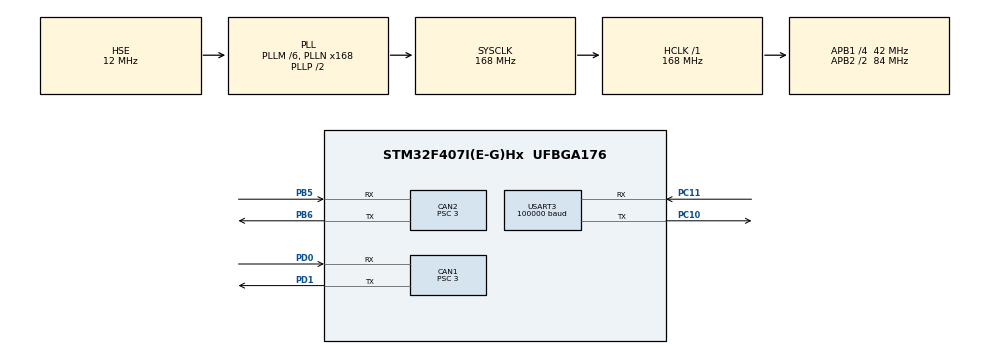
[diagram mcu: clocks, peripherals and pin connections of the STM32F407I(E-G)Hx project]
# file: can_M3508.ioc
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CAN1.BS1=CAN_BS1_10TQ
CAN1.BS2=CAN_BS2_3TQ
CAN1.CalculateBaudRate=1000000
CAN1.CalculateTimeBit=1000
CAN1.CalculateTimeQuantum=71.42857142857143
CAN1.Prescaler=3
CAN2.BS1=CAN_BS1_10TQ
CAN2.BS2=CAN_BS2_3TQ
CAN2.CalculateBaudRate=1000000
CAN2.CalculateTimeBit=1000
CAN2.CalculateTimeQuantum=71.42857142857143
CAN2.Prescaler=3
Dma.Request0=USART3_RX
Dma.USART3_RX.0.Direction=DMA_PERIPH_TO_MEMORY
Dma.USART3_RX.0.FIFOMode=DMA_FIFOMODE_DISABLE
Dma.USART3_RX.0.Instance=DMA1_Stream1
Dma.USART3_RX.0.MemDataAlignment=DMA_MDATAALIGN_BYTE
Dma.USART3_RX.0.MemInc=DMA_MINC_ENABLE
Dma.USART3_RX.0.Mode=DMA_CIRCULAR
Dma.USART3_RX.0.PeriphDataAlignment=DMA_PDATAALIGN_BYTE
Dma.USART3_RX.0.PeriphInc=DMA_PINC_DISABLE
Dma.USART3_RX.0.Priority=DMA_PRIORITY_VERY_HIGH
Mcu.Family=STM32F4
Mcu.Name=STM32F407I(E-G)Hx
Mcu.Package=UFBGA176
NVIC.CAN1_RX0_IRQn=true\:0\:0\:false\:false\:true\:true\:true\:true
NVIC.CAN2_RX0_IRQn=true\:0\:0\:false\:false\:true\:true\:true\:true
NVIC.DMA1_Stream1_IRQn=true\:0\:0\:false\:false\:true\:false\:true\:true
NVIC.PriorityGroup=NVIC_PRIORITYGROUP_4
PA13.Mode=Serial_Wire
PA13.Signal=SYS_JTMS-SWDIO
PA14.Mode=Serial_Wire
PA14.Signal=SYS_JTCK-SWCLK
PB5.Mode=CAN_Activate
PB5.Signal=CAN2_RX
PB6.Mode=CAN_Activate
PB6.Signal=CAN2_TX
PC10.Mode=Asynchronous
PC10.Signal=USART3_TX
PC11.Mode=Asynchronous
PC11.Signal=USART3_RX
PD0.Mode=CAN_Activate
PD0.Signal=CAN1_RX
PD1.Mode=CAN_Activate
PD1.Signal=CAN1_TX
PH0-OSC_IN.Mode=HSE-External-Oscillator
PH0-OSC_IN.Signal=RCC_OSC_IN
PH1-OSC_OUT.Mode=HSE-External-Oscillator
PH1-OSC_OUT.Signal=RCC_OSC_OUT
ProjectManager.HeapSize=0x200
ProjectManager.StackSize=0x400
ProjectManager.TargetToolchain=MDK-ARM V5.32
RCC.48MHZClocksFreq_Value=84000000
RCC.AHBFreq_Value=168000000
RCC.APB1CLKDivider=RCC_HCLK_DIV4
RCC.APB1Freq_Value=42000000
RCC.APB1TimFreq_Value=84000000
RCC.APB2CLKDivider=RCC_HCLK_DIV2
RCC.APB2Freq_Value=84000000
RCC.APB2TimFreq_Value=168000000
RCC.CortexFreq_Value=168000000
RCC.HCLKFreq_Value=168000000
RCC.HSE_VALUE=12000000
RCC.HSI_VALUE=16000000
RCC.LSE_VALUE=32768
RCC.PLLM=6
RCC.PLLN=168
RCC.PLLSourceVirtual=RCC_PLLSOURCE_HSE
RCC.SYSCLKFreq_VALUE=168000000
RCC.SYSCLKSource=RCC_SYSCLKSOURCE_PLLCLK
RCC.VCOOutputFreq_Value=336000000
USART3.BaudRate=100000
USART3.Parity=PARITY_EVEN
USART3.VirtualMode=VM_ASYNC
USART3.WordLength=WORDLENGTH_9B
board=custom

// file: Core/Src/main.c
/* USER CODE BEGIN Header */
/**
  ******************************************************************************
  * @file           : main.c
  * @brief          : Main program body
  ******************************************************************************
  * @attention
  *
  * Copyright (c) 2025 STMicroelectronics.
  * All rights reserved.
  *
  * This software is licensed under terms that can be found in the LICENSE file
  * in the root directory of this software component.
  * If no LICENSE file comes with this software, it is provided AS-IS.
  *

  ******************************************************************************
  */
/* USER CODE END Header */
#include "main.h"
#include "can.h"
#include "dma.h"
#include "usart.h"
#include "gpio.h"
#include <string.h>
/* USER CODE BEGIN Includes */
#include "bsp_can.h"
#include "CAN_receive.h"
#include "pid.h"
#include "sbus.h"
/* USER CODE END Includes */

/* USER CODE BEGIN PV */
 #define MAX_OUT 3000
 // 最大输出限制
#define MAX_IOUT 1000
//最大积分输出限制

#define MULT 1.0f

uint32_t Fifo[SBUS_RECV_MAX]={0};
//缓存数组

float mult=MULT;
//定义增益系数

int set_current[4]={0};
//当前电流值

int set_speed[4]={0};
//设置目标速度

int current_speed[4]={0};

CAN_RxHeaderTypeDef rx_header;
//CAN帧头结构体，作为getmessage函数的参数

const motor_measure_t *motor_data[4];
//定义一个指针，用来获取现在的电机的一些数值

pid_type_def motor_pid[4];
//储存配置的参数和数据，作为参数传入到初始化函数中，表示执行器是电机

 fp32 pid_params[3] = {8.0f, 0.0f, 0.0f};
 // Kp, Ki, Kd

/* USER CODE END PV */

void SystemClock_Config(void);

/* USER CODE BEGIN 0 */
void HAL_UART_RxCpltCallback(UART_HandleTypeDef *huart)
{
	if(huart->Instance==USART3)
	{
            memcpy(sbus_data2,sbus_data1, SBUS_RECV_MAX);
            SBUS_Parse_Data(sbus_data2);
            HAL_UART_Receive_DMA(&huart3, sbus_data2, SBUS_RECV_MAX);

  }
}

int map(int x, float in_min)
{
    return (x - 992) * in_min;
	//in_min是增益系数
}
/* USER CODE END 0 */

int main(void)
{

  /* MCU Configuration--------------------------------------------------------*/

  /* Reset of all peripherals, Initializes the Flash interface and the Systick. */
  HAL_Init();

  /* Configure the system clock */
  SystemClock_Config();

  /* Initialize all configured peripherals */
  MX_GPIO_Init();
  MX_DMA_Init();
  MX_CAN1_Init();
  MX_CAN2_Init();
  MX_USART3_UART_Init();
  /* USER CODE BEGIN 2 */
	can_filter_init();
	//初始化CAN的过滤器

for(int i=0;i<4;i++)
{
	motor_data[i]=get_chassis_motor_measure_point(i);

	PID_init(&motor_pid[i], PID_POSITION, pid_params, MAX_OUT, MAX_IOUT);
	//初始化pid(获取数据，设置位模式为PID模式，KP，KI，KD三个参数，传入最大值）
}

HAL_UART_Receive_DMA(&huart3,sbus_data1,SBUS_RECV_MAX);
  /* USER CODE END 2 */

  /* Infinite loop */
  /* USER CODE BEGIN WHILE */
  while (1)
  {

		if(g_sbus_channels[2]>992 && g_sbus_channels[2]<1800)
    {
      set_speed[0]=map(g_sbus_channels[2],mult);
      set_speed[1]=map(g_sbus_channels[2],mult);
      set_speed[2]=-map(g_sbus_channels[2],mult);
      set_speed[3]=-map(g_sbus_channels[2],mult);
    }
    else if(g_sbus_channels[2]<992 && g_sbus_channels[2] > 100)
    {
      set_speed[0]=map(g_sbus_channels[2],mult);
      set_speed[1]=map(g_sbus_channels[2],mult);
      set_speed[2]=-map(g_sbus_channels[2],mult);
      set_speed[3]=-map(g_sbus_channels[2],mult);
    }

    // 读取现在的速度，速度定义在can_receive.h中
	for(int i=0;i<4;i++)
		{
     current_speed[i]= (fp32)motor_data[i]->speed_rpm;
    set_current[i] = (int)PID_calc(&motor_pid[i],current_speed[i], set_speed[i]);
		}

    // 发送数据到相应电机
    CAN_cmd_chassis(set_current[0] ,set_current[1], set_current[2], set_current[3]);

		HAL_Delay(10);

    /* USER CODE END WHILE */

  }
}

void SystemClock_Config(void)
{
  RCC_OscInitTypeDef RCC_OscInitStruct = {0};
  RCC_ClkInitTypeDef RCC_ClkInitStruct = {0};

  /** Configure the main internal regulator output voltage
  */
  __HAL_RCC_PWR_CLK_ENABLE();
  __HAL_PWR_VOLTAGESCALING_CONFIG(PWR_REGULATOR_VOLTAGE_SCALE1);

  /** Initializes the RCC Oscillators according to the specified parameters
  * in the RCC_OscInitTypeDef structure.
  */
  RCC_OscInitStruct.OscillatorType = RCC_OSCILLATORTYPE_HSE;
  RCC_OscInitStruct.HSEState = RCC_HSE_ON;
  RCC_OscInitStruct.PLL.PLLState = RCC_PLL_ON;
  RCC_OscInitStruct.PLL.PLLSource = RCC_PLLSOURCE_HSE;
  RCC_OscInitStruct.PLL.PLLM = 6;
  RCC_OscInitStruct.PLL.PLLN = 168;
  RCC_OscInitStruct.PLL.PLLP = RCC_PLLP_DIV2;
  RCC_OscInitStruct.PLL.PLLQ = 4;
  if (HAL_RCC_OscConfig(&RCC_OscInitStruct) != HAL_OK)
  {
    Error_Handler();
  }

  /** Initializes the CPU, AHB and APB buses clocks
  */
  RCC_ClkInitStruct.ClockType = RCC_CLOCKTYPE_HCLK|RCC_CLOCKTYPE_SYSCLK
                              |RCC_CLOCKTYPE_PCLK1|RCC_CLOCKTYPE_PCLK2;
  RCC_ClkInitStruct.SYSCLKSource = RCC_SYSCLKSOURCE_PLLCLK;
  RCC_ClkInitStruct.AHBCLKDivider = RCC_SYSCLK_DIV1;
  RCC_ClkInitStruct.APB1CLKDivider = RCC_HCLK_DIV4;
  RCC_ClkInitStruct.APB2CLKDivider = RCC_HCLK_DIV2;

  if (HAL_RCC_ClockConfig(&RCC_ClkInitStruct, FLASH_LATENCY_5) != HAL_OK)
  {
    Error_Handler();
  }
}

void Error_Handler(void)
{
  __disable_irq();
  while (1)
  {
  }
}
